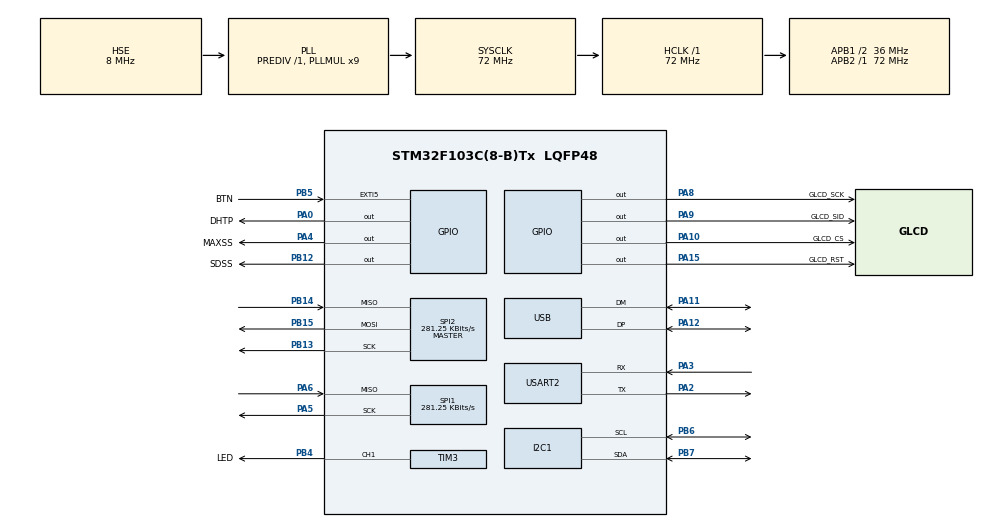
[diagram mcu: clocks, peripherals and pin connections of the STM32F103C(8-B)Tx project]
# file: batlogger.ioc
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Dma.Request0=TIM3_CH1/TRIG
Dma.TIM3_CH1/TRIG.0.Direction=DMA_MEMORY_TO_PERIPH
Dma.TIM3_CH1/TRIG.0.Instance=DMA1_Channel6
Dma.TIM3_CH1/TRIG.0.MemDataAlignment=DMA_MDATAALIGN_WORD
Dma.TIM3_CH1/TRIG.0.MemInc=DMA_MINC_ENABLE
Dma.TIM3_CH1/TRIG.0.Mode=DMA_CIRCULAR
Dma.TIM3_CH1/TRIG.0.PeriphDataAlignment=DMA_PDATAALIGN_WORD
Dma.TIM3_CH1/TRIG.0.PeriphInc=DMA_PINC_DISABLE
Dma.TIM3_CH1/TRIG.0.Priority=DMA_PRIORITY_MEDIUM
FREERTOS.Tasks01=defaultTask,0,128,StartDefaultTask,Default,NULL,Dynamic,NULL,NULL;LedTask,-2,128,StartLedTask,Default,NULL,Dynamic,NULL,NULL;DispTask,-2,128,StartDispTask,Default,NULL,Dynamic,NULL,NULL;TCTask,0,128,StartTCTask,Default,NULL,Dynamic,NULL,NULL;ADCTask,0,128,StartADCTask,Default,NULL,Dynamic,NULL,NULL;DHTTask,-2,128,StartDHTTask,Default,NULL,Dynamic,NULL,NULL;SDCTask,2,256,StartSDCTask,Default,NULL,Dynamic,NULL,NULL;CalcTask,-1,128,StartCalcTask,Default,NULL,Dynamic,NULL,NULL;KBTask,-2,128,StartKBTask,Default,NULL,Dynamic,NULL,NULL
FREERTOS.configTOTAL_HEAP_SIZE=2048+4096
Mcu.Family=STM32F1
Mcu.Name=STM32F103C(8-B)Tx
Mcu.Package=LQFP48
NVIC.DMA1_Channel6_IRQn=true\:5\:0\:false\:false\:true\:true\:false\:true\:true
NVIC.EXTI9_5_IRQn=true\:5\:0\:false\:false\:true\:true\:true\:true\:true
NVIC.PriorityGroup=NVIC_PRIORITYGROUP_4
NVIC.TIM2_IRQn=true\:5\:0\:false\:false\:true\:true\:true\:true\:true
NVIC.TIM4_IRQn=true\:15\:0\:false\:false\:true\:false\:false\:true\:true
NVIC.TimeBase=TIM4_IRQn
NVIC.TimeBaseIP=TIM4
NVIC.USB_LP_CAN1_RX0_IRQn=true\:5\:0\:false\:false\:true\:true\:false\:true\:true
PA0-WKUP.GPIO_Label=DHTP
PA0-WKUP.GPIO_Speed=GPIO_SPEED_FREQ_HIGH
PA0-WKUP.Signal=GPIO_Output
PA10.GPIO_Label=GLCD_CS
PA10.GPIO_Speed=GPIO_SPEED_FREQ_HIGH
PA10.Signal=GPIO_Output
PA11.Mode=Device
PA11.Signal=USB_DM
PA12.Mode=Device
PA12.Signal=USB_DP
PA13.Mode=Serial_Wire
PA13.Signal=SYS_JTMS-SWDIO
PA14.Mode=Serial_Wire
PA14.Signal=SYS_JTCK-SWCLK
PA15.GPIO_Label=GLCD_RST
PA15.GPIO_Speed=GPIO_SPEED_FREQ_HIGH
PA15.Signal=GPIO_Output
PA2.Mode=Asynchronous
PA2.Signal=USART2_TX
PA3.Mode=Asynchronous
PA3.Signal=USART2_RX
PA4.GPIO_Label=MAXSS
PA4.GPIO_Speed=GPIO_SPEED_FREQ_HIGH
PA4.Signal=GPIO_Output
PA5.Mode=RX_Only_Simplex_Unidirect_Master
PA5.Signal=SPI1_SCK
PA6.Mode=RX_Only_Simplex_Unidirect_Master
PA6.Signal=SPI1_MISO
PA8.GPIO_Label=GLCD_SCK
PA8.GPIO_Speed=GPIO_SPEED_FREQ_HIGH
PA8.Signal=GPIO_Output
PA9.GPIO_Label=GLCD_SID
PA9.Signal=GPIO_Output
PB12.GPIO_Label=SDSS
PB12.GPIO_ModeDefaultOutputPP=GPIO_MODE_OUTPUT_OD
PB12.GPIO_PuPd=GPIO_PULLUP
PB12.GPIO_Speed=GPIO_SPEED_FREQ_HIGH
PB12.PinState=GPIO_PIN_RESET
PB12.Signal=GPIO_Output
PB13.Mode=Full_Duplex_Master
PB13.Signal=SPI2_SCK
PB14.GPIO_PuPd=GPIO_PULLUP
PB14.Mode=Full_Duplex_Master
PB14.Signal=SPI2_MISO
PB15.Mode=Full_Duplex_Master
PB15.Signal=SPI2_MOSI
PB4.GPIO_Label=LED
PB4.GPIO_ModeDefaultPP=GPIO_MODE_AF_OD
PB4.GPIO_Speed=GPIO_SPEED_FREQ_HIGH
PB4.Signal=S_TIM3_CH1
PB5.GPIO_Label=BTN
PB5.GPIO_ModeDefaultEXTI=GPIO_MODE_IT_FALLING
PB5.Signal=GPXTI5
PB6.Mode=I2C
PB6.Signal=I2C1_SCL
PB7.Mode=I2C
PB7.Signal=I2C1_SDA
PD0-OSC_IN.Mode=HSE-External-Oscillator
PD0-OSC_IN.Signal=RCC_OSC_IN
PD1-OSC_OUT.Mode=HSE-External-Oscillator
PD1-OSC_OUT.Signal=RCC_OSC_OUT
ProjectManager.HeapSize=0x1600
ProjectManager.StackSize=0x1600
ProjectManager.TargetToolchain=MDK-ARM V5.32
RCC.AHBFreq_Value=72000000
RCC.APB1CLKDivider=RCC_HCLK_DIV2
RCC.APB1Freq_Value=36000000
RCC.APB1TimFreq_Value=72000000
RCC.APB2Freq_Value=72000000
RCC.APB2TimFreq_Value=72000000
RCC.HCLKFreq_Value=72000000
RCC.PLLMUL=RCC_PLL_MUL9
RCC.PLLSourceVirtual=RCC_PLLSOURCE_HSE
RCC.SYSCLKFreq_VALUE=72000000
RCC.SYSCLKSource=RCC_SYSCLKSOURCE_PLLCLK
RCC.USBFreq_Value=48000000
RCC.USBPrescaler=RCC_USBCLKSOURCE_PLL_DIV1_5
SH.S_TIM3_CH1.0=TIM3_CH1,PWM Generation1 CH1
SPI1.BaudRatePrescaler=SPI_BAUDRATEPRESCALER_256
SPI1.CalculateBaudRate=281.25 KBits/s
SPI1.DataSize=SPI_DATASIZE_16BIT
SPI1.Direction=SPI_DIRECTION_2LINES_RXONLY
SPI1.Mode=SPI_MODE_MASTER
SPI1.VirtualType=VM_MASTER
SPI2.BaudRatePrescaler=SPI_BAUDRATEPRESCALER_128
SPI2.CalculateBaudRate=281.25 KBits/s
SPI2.Direction=SPI_DIRECTION_2LINES
SPI2.Mode=SPI_MODE_MASTER
SPI2.VirtualType=VM_MASTER
TIM1.Period=0xFFFF-1
TIM1.Prescaler=72
TIM2.Period=100
TIM2.Prescaler=36000
TIM3.Channel-PWM\ Generation1\ CH1=TIM_CHANNEL_1
USART2.VirtualMode=VM_ASYNC
USB_DEVICE.CLASS_NAME_FS=CDC
USB_DEVICE.VirtualMode=Cdc
USB_DEVICE.VirtualModeFS=Cdc_FS
VP_FREERTOS_VS_CMSIS_V1.Mode=CMSIS_V1
VP_SYS_VS_tim4.Mode=TIM4
VP_TIM1_VS_ClockSourceINT.Mode=Internal
VP_TIM2_VS_ClockSourceINT.Mode=Internal
VP_TIM3_VS_ClockSourceINT.Mode=Internal
VP_USB_DEVICE_VS_USB_DEVICE_CDC_FS.Mode=CDC_FS
board=custom

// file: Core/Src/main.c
/* USER CODE BEGIN Header */
/**
  ******************************************************************************
  * @file           : main.c
  * @brief          : Main program body
  ******************************************************************************
  * @attention
  *
  * Copyright (c) 2022 STMicroelectronics.
  * All rights reserved.
  *
  * This software is licensed under terms that can be found in the LICENSE file
  * in the root directory of this software component.
  * If no LICENSE file comes with this software, it is provided AS-IS.
  *
  ******************************************************************************
  */
/* USER CODE END Header */
#include "main.h"
#include "cmsis_os.h"
#include "usb_device.h"

/* USER CODE BEGIN Includes */
#include "DHT.h"
#include "MAX6675.h"
#include "ST7920_SERIAL.h"
#include <stdlib.h>
#include "stdio.h"
#include "delay.h"
#include "bitmap.h"
#include "ADS1115.h"
#include "ARGB.h"
#include "usbd_cdc_if.h"

/* USER CODE END Includes */

/* USER CODE BEGIN PD */
#define SDErr 0
#define SDMnt 1
#define SDFopn 2
#define SDRec 3
/* USER CODE END PD */

I2C_HandleTypeDef hi2c1;

SPI_HandleTypeDef hspi1;
SPI_HandleTypeDef hspi2;

TIM_HandleTypeDef htim1;
TIM_HandleTypeDef htim2;
TIM_HandleTypeDef htim3;
DMA_HandleTypeDef hdma_tim3_ch1_trig;

UART_HandleTypeDef huart2;

osThreadId defaultTaskHandle;
osThreadId LedTaskHandle;
osThreadId DispTaskHandle;
osThreadId TCTaskHandle;
osThreadId ADCTaskHandle;
osThreadId DHTTaskHandle;
osThreadId SDCTaskHandle;
osThreadId CalcTaskHandle;
osThreadId KBTaskHandle;
/* USER CODE BEGIN PV */
static DHT_sensor AmbS = {DHTP_GPIO_Port, DHTP_Pin, DHT11, GPIO_NOPULL};
//FATFS FatFs; 	//Fatfs handle
//FIL fil; 		//File handle
//FRESULT fres; //Result after operations
float adc[4];
float Volt,Curr,TCtemp;
int ambT,ambRH;
bool LEDSt = 1;
uint8_t SDst = SDErr;
char SDMSG[64];
bool state = true;
bool REC = false;
char msg3[24];
char msg2[24];
char msg1[24];
char msg0[24];
/* USER CODE END PV */

void SystemClock_Config(void);
static void MX_GPIO_Init(void);
static void MX_DMA_Init(void);
static void MX_SPI1_Init(void);
static void MX_TIM1_Init(void);
static void MX_SPI2_Init(void);
static void MX_TIM3_Init(void);
static void MX_TIM2_Init(void);
static void MX_I2C1_Init(void);
static void MX_USART2_UART_Init(void);
void StartDefaultTask(void const * argument);
void StartLedTask(void const * argument);
void StartDispTask(void const * argument);
void StartTCTask(void const * argument);
void StartADCTask(void const * argument);
void StartDHTTask(void const * argument);
void StartSDCTask(void const * argument);
void StartCalcTask(void const * argument);
void StartKBTask(void const * argument);

int main(void)
{

  /* MCU Configuration--------------------------------------------------------*/

  /* Reset of all peripherals, Initializes the Flash interface and the Systick. */
  HAL_Init();

  /* Configure the system clock */
  SystemClock_Config();

  /* Initialize all configured peripherals */
  MX_GPIO_Init();
  MX_DMA_Init();
  MX_SPI1_Init();
  MX_TIM1_Init();
  MX_SPI2_Init();
  MX_TIM3_Init();
  MX_TIM2_Init();
  MX_I2C1_Init();
  MX_USART2_UART_Init();
  /* USER CODE BEGIN 2 */
	delay_init();
	ARGB_Init();
	I2C1_Init(I2C_STANDARD);
  ST7920_Init();
	ARGB_SetRGB(0,0,255,0);

  ST7920_SendString(0,0, "battery");
  ST7920_SendString(1,0, "logger");
  ST7920_SendString(2,0, "by droplbox");
  ST7920_SendString(3,0, "");
  HAL_Delay(2000);

  /* USER CODE END 2 */

  /* Create the thread(s) */
  /* definition and creation of defaultTask */
  osThreadDef(defaultTask, StartDefaultTask, osPriorityNormal, 0, 128);
  defaultTaskHandle = osThreadCreate(osThread(defaultTask), NULL);

  /* definition and creation of LedTask */
  osThreadDef(LedTask, StartLedTask, osPriorityLow, 0, 128);
  LedTaskHandle = osThreadCreate(osThread(LedTask), NULL);

  /* definition and creation of DispTask */
  osThreadDef(DispTask, StartDispTask, osPriorityLow, 0, 256);
  DispTaskHandle = osThreadCreate(osThread(DispTask), NULL);

  /* definition and creation of TCTask */
  osThreadDef(TCTask, StartTCTask, osPriorityNormal, 0, 128);
  TCTaskHandle = osThreadCreate(osThread(TCTask), NULL);

  /* definition and creation of ADCTask */
  osThreadDef(ADCTask, StartADCTask, osPriorityNormal, 0, 128);
  ADCTaskHandle = osThreadCreate(osThread(ADCTask), NULL);

  /* definition and creation of DHTTask */
  osThreadDef(DHTTask, StartDHTTask, osPriorityLow, 0, 128);
  DHTTaskHandle = osThreadCreate(osThread(DHTTask), NULL);

  /* definition and creation of SDCTask */
  osThreadDef(SDCTask, StartSDCTask, osPriorityHigh, 0, 256);
  SDCTaskHandle = osThreadCreate(osThread(SDCTask), NULL);

  /* definition and creation of CalcTask */
  osThreadDef(CalcTask, StartCalcTask, osPriorityBelowNormal, 0, 128);
  CalcTaskHandle = osThreadCreate(osThread(CalcTask), NULL);

  /* definition and creation of KBTask */
  osThreadDef(KBTask, StartKBTask, osPriorityLow, 0, 128);
  KBTaskHandle = osThreadCreate(osThread(KBTask), NULL);

  /* Start scheduler */
  osKernelStart();

  /* We should never get here as control is now taken by the scheduler */
  /* Infinite loop */
  while (1)
  {

    /* USER CODE BEGIN 3 */

		HAL_Delay(100);

  }
  /* USER CODE END 3 */
}

void SystemClock_Config(void)
{
  RCC_OscInitTypeDef RCC_OscInitStruct = {0};
  RCC_ClkInitTypeDef RCC_ClkInitStruct = {0};
  RCC_PeriphCLKInitTypeDef PeriphClkInit = {0};

  /** Initializes the RCC Oscillators according to the specified parameters
  * in the RCC_OscInitTypeDef structure.
  */
  RCC_OscInitStruct.OscillatorType = RCC_OSCILLATORTYPE_HSE;
  RCC_OscInitStruct.HSEState = RCC_HSE_ON;
  RCC_OscInitStruct.HSEPredivValue = RCC_HSE_PREDIV_DIV1;
  RCC_OscInitStruct.HSIState = RCC_HSI_ON;
  RCC_OscInitStruct.PLL.PLLState = RCC_PLL_ON;
  RCC_OscInitStruct.PLL.PLLSource = RCC_PLLSOURCE_HSE;
  RCC_OscInitStruct.PLL.PLLMUL = RCC_PLL_MUL9;
  if (HAL_RCC_OscConfig(&RCC_OscInitStruct) != HAL_OK)
  {
    Error_Handler();
  }

  /** Initializes the CPU, AHB and APB buses clocks
  */
  RCC_ClkInitStruct.ClockType = RCC_CLOCKTYPE_HCLK|RCC_CLOCKTYPE_SYSCLK
                              |RCC_CLOCKTYPE_PCLK1|RCC_CLOCKTYPE_PCLK2;
  RCC_ClkInitStruct.SYSCLKSource = RCC_SYSCLKSOURCE_PLLCLK;
  RCC_ClkInitStruct.AHBCLKDivider = RCC_SYSCLK_DIV1;
  RCC_ClkInitStruct.APB1CLKDivider = RCC_HCLK_DIV2;
  RCC_ClkInitStruct.APB2CLKDivider = RCC_HCLK_DIV1;

  if (HAL_RCC_ClockConfig(&RCC_ClkInitStruct, FLASH_LATENCY_2) != HAL_OK)
  {
    Error_Handler();
  }
  PeriphClkInit.PeriphClockSelection = RCC_PERIPHCLK_USB;
  PeriphClkInit.UsbClockSelection = RCC_USBCLKSOURCE_PLL_DIV1_5;
  if (HAL_RCCEx_PeriphCLKConfig(&PeriphClkInit) != HAL_OK)
  {
    Error_Handler();
  }
}

static void MX_I2C1_Init(void)
{

  hi2c1.Instance = I2C1;
  hi2c1.Init.ClockSpeed = 100000;
  hi2c1.Init.DutyCycle = I2C_DUTYCYCLE_2;
  hi2c1.Init.OwnAddress1 = 0;
  hi2c1.Init.AddressingMode = I2C_ADDRESSINGMODE_7BIT;
  hi2c1.Init.DualAddressMode = I2C_DUALADDRESS_DISABLE;
  hi2c1.Init.OwnAddress2 = 0;
  hi2c1.Init.GeneralCallMode = I2C_GENERALCALL_DISABLE;
  hi2c1.Init.NoStretchMode = I2C_NOSTRETCH_DISABLE;
  if (HAL_I2C_Init(&hi2c1) != HAL_OK)
  {
    Error_Handler();
  }

}

static void MX_SPI1_Init(void)
{

  /* SPI1 parameter configuration*/
  hspi1.Instance = SPI1;
  hspi1.Init.Mode = SPI_MODE_MASTER;
  hspi1.Init.Direction = SPI_DIRECTION_2LINES_RXONLY;
  hspi1.Init.DataSize = SPI_DATASIZE_16BIT;
  hspi1.Init.CLKPolarity = SPI_POLARITY_LOW;
  hspi1.Init.CLKPhase = SPI_PHASE_1EDGE;
  hspi1.Init.NSS = SPI_NSS_SOFT;
  hspi1.Init.BaudRatePrescaler = SPI_BAUDRATEPRESCALER_256;
  hspi1.Init.FirstBit = SPI_FIRSTBIT_MSB;
  hspi1.Init.TIMode = SPI_TIMODE_DISABLE;
  hspi1.Init.CRCCalculation = SPI_CRCCALCULATION_DISABLE;
  hspi1.Init.CRCPolynomial = 10;
  if (HAL_SPI_Init(&hspi1) != HAL_OK)
  {
    Error_Handler();
  }

}

static void MX_SPI2_Init(void)
{

  /* SPI2 parameter configuration*/
  hspi2.Instance = SPI2;
  hspi2.Init.Mode = SPI_MODE_MASTER;
  hspi2.Init.Direction = SPI_DIRECTION_2LINES;
  hspi2.Init.DataSize = SPI_DATASIZE_8BIT;
  hspi2.Init.CLKPolarity = SPI_POLARITY_LOW;
  hspi2.Init.CLKPhase = SPI_PHASE_1EDGE;
  hspi2.Init.NSS = SPI_NSS_SOFT;
  hspi2.Init.BaudRatePrescaler = SPI_BAUDRATEPRESCALER_128;
  hspi2.Init.FirstBit = SPI_FIRSTBIT_MSB;
  hspi2.Init.TIMode = SPI_TIMODE_DISABLE;
  hspi2.Init.CRCCalculation = SPI_CRCCALCULATION_DISABLE;
  hspi2.Init.CRCPolynomial = 10;
  if (HAL_SPI_Init(&hspi2) != HAL_OK)
  {
    Error_Handler();
  }

}

static void MX_TIM1_Init(void)
{

  TIM_ClockConfigTypeDef sClockSourceConfig = {0};
  TIM_MasterConfigTypeDef sMasterConfig = {0};

  htim1.Instance = TIM1;
  htim1.Init.Prescaler = 72;
  htim1.Init.CounterMode = TIM_COUNTERMODE_UP;
  htim1.Init.Period = 0xFFFF-1;
  htim1.Init.ClockDivision = TIM_CLOCKDIVISION_DIV1;
  htim1.Init.RepetitionCounter = 0;
  htim1.Init.AutoReloadPreload = TIM_AUTORELOAD_PRELOAD_DISABLE;
  if (HAL_TIM_Base_Init(&htim1) != HAL_OK)
  {
    Error_Handler();
  }
  sClockSourceConfig.ClockSource = TIM_CLOCKSOURCE_INTERNAL;
  if (HAL_TIM_ConfigClockSource(&htim1, &sClockSourceConfig) != HAL_OK)
  {
    Error_Handler();
  }
  sMasterConfig.MasterOutputTrigger = TIM_TRGO_RESET;
  sMasterConfig.MasterSlaveMode = TIM_MASTERSLAVEMODE_DISABLE;
  if (HAL_TIMEx_MasterConfigSynchronization(&htim1, &sMasterConfig) != HAL_OK)
  {
    Error_Handler();
  }

}

static void MX_TIM2_Init(void)
{

  TIM_ClockConfigTypeDef sClockSourceConfig = {0};
  TIM_MasterConfigTypeDef sMasterConfig = {0};

  htim2.Instance = TIM2;
  htim2.Init.Prescaler = 36000;
  htim2.Init.CounterMode = TIM_COUNTERMODE_UP;
  htim2.Init.Period = 100;
  htim2.Init.ClockDivision = TIM_CLOCKDIVISION_DIV1;
  htim2.Init.AutoReloadPreload = TIM_AUTORELOAD_PRELOAD_DISABLE;
  if (HAL_TIM_Base_Init(&htim2) != HAL_OK)
  {
    Error_Handler();
  }
  sClockSourceConfig.ClockSource = TIM_CLOCKSOURCE_INTERNAL;
  if (HAL_TIM_ConfigClockSource(&htim2, &sClockSourceConfig) != HAL_OK)
  {
    Error_Handler();
  }
  sMasterConfig.MasterOutputTrigger = TIM_TRGO_RESET;
  sMasterConfig.MasterSlaveMode = TIM_MASTERSLAVEMODE_DISABLE;
  if (HAL_TIMEx_MasterConfigSynchronization(&htim2, &sMasterConfig) != HAL_OK)
  {
    Error_Handler();
  }

}

static void MX_TIM3_Init(void)
{

  TIM_ClockConfigTypeDef sClockSourceConfig = {0};
  TIM_MasterConfigTypeDef sMasterConfig = {0};
  TIM_OC_InitTypeDef sConfigOC = {0};

  htim3.Instance = TIM3;
  htim3.Init.Prescaler = 0;
  htim3.Init.CounterMode = TIM_COUNTERMODE_UP;
  htim3.Init.Period = 65535;
  htim3.Init.ClockDivision = TIM_CLOCKDIVISION_DIV1;
  htim3.Init.AutoReloadPreload = TIM_AUTORELOAD_PRELOAD_DISABLE;
  if (HAL_TIM_Base_Init(&htim3) != HAL_OK)
  {
    Error_Handler();
  }
  sClockSourceConfig.ClockSource = TIM_CLOCKSOURCE_INTERNAL;
  if (HAL_TIM_ConfigClockSource(&htim3, &sClockSourceConfig) != HAL_OK)
  {
    Error_Handler();
  }
  if (HAL_TIM_PWM_Init(&htim3) != HAL_OK)
  {
    Error_Handler();
  }
  sMasterConfig.MasterOutputTrigger = TIM_TRGO_RESET;
  sMasterConfig.MasterSlaveMode = TIM_MASTERSLAVEMODE_DISABLE;
  if (HAL_TIMEx_MasterConfigSynchronization(&htim3, &sMasterConfig) != HAL_OK)
  {
    Error_Handler();
  }
  sConfigOC.OCMode = TIM_OCMODE_PWM1;
  sConfigOC.Pulse = 0;
  sConfigOC.OCPolarity = TIM_OCPOLARITY_HIGH;
  sConfigOC.OCFastMode = TIM_OCFAST_DISABLE;
  if (HAL_TIM_PWM_ConfigChannel(&htim3, &sConfigOC, TIM_CHANNEL_1) != HAL_OK)
  {
    Error_Handler();
  }
  HAL_TIM_MspPostInit(&htim3);

}

static void MX_USART2_UART_Init(void)
{

  huart2.Instance = USART2;
  huart2.Init.BaudRate = 115200;
  huart2.Init.WordLength = UART_WORDLENGTH_8B;
  huart2.Init.StopBits = UART_STOPBITS_1;
  huart2.Init.Parity = UART_PARITY_NONE;
  huart2.Init.Mode = UART_MODE_TX_RX;
  huart2.Init.HwFlowCtl = UART_HWCONTROL_NONE;
  huart2.Init.OverSampling = UART_OVERSAMPLING_16;
  if (HAL_UART_Init(&huart2) != HAL_OK)
  {
    Error_Handler();
  }

}

static void MX_DMA_Init(void)
{

  /* DMA controller clock enable */
  __HAL_RCC_DMA1_CLK_ENABLE();

  /* DMA interrupt init */
  /* DMA1_Channel6_IRQn interrupt configuration */
  HAL_NVIC_SetPriority(DMA1_Channel6_IRQn, 5, 0);
  HAL_NVIC_EnableIRQ(DMA1_Channel6_IRQn);

}

static void MX_GPIO_Init(void)
{
  GPIO_InitTypeDef GPIO_InitStruct = {0};

  /* GPIO Ports Clock Enable */
  __HAL_RCC_GPIOD_CLK_ENABLE();
  __HAL_RCC_GPIOA_CLK_ENABLE();
  __HAL_RCC_GPIOB_CLK_ENABLE();

  /*Configure GPIO pin Output Level */
  HAL_GPIO_WritePin(GPIOA, DHTP_Pin|MAXSS_Pin|GLCD_SCK_Pin|GLCD_SID_Pin
                          |GLCD_CS_Pin|GLCD_RST_Pin, GPIO_PIN_RESET);

  /*Configure GPIO pin Output Level */
  HAL_GPIO_WritePin(SDSS_GPIO_Port, SDSS_Pin, GPIO_PIN_RESET);

  /*Configure GPIO pins : DHTP_Pin MAXSS_Pin GLCD_SCK_Pin GLCD_CS_Pin
                           GLCD_RST_Pin */
  GPIO_InitStruct.Pin = DHTP_Pin|MAXSS_Pin|GLCD_SCK_Pin|GLCD_CS_Pin
                          |GLCD_RST_Pin;
  GPIO_InitStruct.Mode = GPIO_MODE_OUTPUT_PP;
  GPIO_InitStruct.Pull = GPIO_NOPULL;
  GPIO_InitStruct.Speed = GPIO_SPEED_FREQ_HIGH;
  HAL_GPIO_Init(GPIOA, &GPIO_InitStruct);

  /*Configure GPIO pin : SDSS_Pin */
  GPIO_InitStruct.Pin = SDSS_Pin;
  GPIO_InitStruct.Mode = GPIO_MODE_OUTPUT_OD;
  GPIO_InitStruct.Pull = GPIO_PULLUP;
  GPIO_InitStruct.Speed = GPIO_SPEED_FREQ_HIGH;
  HAL_GPIO_Init(SDSS_GPIO_Port, &GPIO_InitStruct);

  /*Configure GPIO pin : GLCD_SID_Pin */
  GPIO_InitStruct.Pin = GLCD_SID_Pin;
  GPIO_InitStruct.Mode = GPIO_MODE_OUTPUT_PP;
  GPIO_InitStruct.Pull = GPIO_NOPULL;
  GPIO_InitStruct.Speed = GPIO_SPEED_FREQ_LOW;
  HAL_GPIO_Init(GLCD_SID_GPIO_Port, &GPIO_InitStruct);

  /*Configure GPIO pin : BTN_Pin */
  GPIO_InitStruct.Pin = BTN_Pin;
  GPIO_InitStruct.Mode = GPIO_MODE_IT_FALLING;
  GPIO_InitStruct.Pull = GPIO_NOPULL;
  HAL_GPIO_Init(BTN_GPIO_Port, &GPIO_InitStruct);

  /* EXTI interrupt init*/
  HAL_NVIC_SetPriority(EXTI9_5_IRQn, 5, 0);
  HAL_NVIC_EnableIRQ(EXTI9_5_IRQn);

}

/* USER CODE BEGIN 4 */
void HAL_GPIO_EXTI_Callback(uint16_t GPIO_Pin)
{
	if(GPIO_Pin == BTN_Pin && state == true){
		HAL_TIM_Base_Start_IT(&htim2);
		state = false;

	}
	else{
		__NOP();
	}
}

/* USER CODE END 4 */

void StartDefaultTask(void const * argument)
{
  /* init code for USB_DEVICE */
  MX_USB_DEVICE_Init();
  /* USER CODE BEGIN 5 */
  /* Infinite loop */
  for(;;)
  {
    osDelay(100);
  }
  /* USER CODE END 5 */
}

void StartLedTask(void const * argument)
{
  /* USER CODE BEGIN StartLedTask */
  /* Infinite loop */
  for(;;)
  {
//		if (SDst == SDErr){
//			ARGB_SetRGB(0,255,0,0);
//		} else if ((SDst == SDMnt )| !REC) {
//			if (LEDSt == 1) {
//			ARGB_SetRGB(0,0,255,0);
//			LEDSt = 0;
//
//			}else{
//				ARGB_SetRGB(0,0,0,0);
//			LEDSt = 1;
//
//			}
//		} else if ((SDst == SDMnt )| REC) {
//			LEDSt = 1;
//			ARGB_SetRGB(0,0,255,0);
//		}

		if (!REC){
			ARGB_SetRGB(0,255,0,0);}
		else {ARGB_SetRGB(0,0,255,0);}
		while (!ARGB_Show())
		;
    osDelay(300);
  }
  /* USER CODE END StartLedTask */
}

void StartDispTask(void const * argument)
{
  /* USER CODE BEGIN StartDispTask */
  /* Infinite loop */
  for(;;)
  {

		sprintf(msg3, "TC: %06.02f degC", TCtemp);
		sprintf(msg2, "Tamb %dC RH %d%%", (uint8_t)ambT, (uint8_t)ambRH);
		sprintf(msg1, "V %06.3f V    ", Volt);
		sprintf(msg0, "I %06.3f A    ", Curr);

		ST7920_SendString(3,0, msg3);
		ST7920_SendString(2,0, msg2);
		ST7920_SendString(1,0, msg1);
		ST7920_SendString(0,0, msg0);
    osDelay(500);
  }
  /* USER CODE END StartDispTask */
}

void StartTCTask(void const * argument)
{
  /* USER CODE BEGIN StartTCTask */
  /* Infinite loop */
  for(;;)
  {
		TCtemp=Max6675_Read_Temp();
    osDelay(500);
  }
  /* USER CODE END StartTCTask */
}

void StartADCTask(void const * argument)
{
  /* USER CODE BEGIN StartADCTask */
  /* Infinite loop */
  for(;;)
  {
		adc[0] = ADS1115_Read(0);

		adc[1] =  ADS1115_Read(1);
		adc[2] =  ADS1115_Read(2);
		osDelay(500);
  }
  /* USER CODE END StartADCTask */
}

void StartDHTTask(void const * argument)
{
  /* USER CODE BEGIN StartDHTTask */
  /* Infinite loop */
  for(;;)
  {
		DHT_data dhtd = DHT_getData(&AmbS);
		ambT = (uint8_t)dhtd.temp;
		ambRH = (uint8_t)dhtd.hum;
    osDelay(5000);
  }
  /* USER CODE END StartDHTTask */
}

void StartSDCTask(void const * argument)
{
  /* USER CODE BEGIN StartSDCTask */

  /* Infinite loop */
  for(;;)
  {

		//fres = f_mount(&FatFs, "", 1);
		//if (fres == FR_OK) {SDst = SDMnt;} else{ SDst = SDErr;}
		///fres = f_mkdir("DEMO");
		//if (fres == FR_OK) {SDst = SDFopn;} else{ SDst = SDErr;}
//		fres = f_open(&fil, "/test.txt", FA_WRITE );
//////
//	  if (fres == FR_OK) {SDst = SDFopn;} else{ SDst = SDErr;}
////		//f_puts(SDMSG,&fil);
//		f_close(&fil);
//		f_mount(NULL, "", 0);
		sprintf(SDMSG, "%07.3f, %06.2f, %02.0d, %02.0d, %06.02f", Volt, Curr, (uint8_t)ambT, (uint8_t)ambRH, TCtemp);
		sprintf(&SDMSG[63],"\n");
		if (REC) {
			CDC_Transmit_FS((unsigned char*)&SDMSG[0], sizeof(SDMSG));
			HAL_UART_Transmit(&huart2,(unsigned char*) &SDMSG[0], sizeof(SDMSG), 100);
		}
    osDelay(1000);
  }
  /* USER CODE END StartSDCTask */
}

void StartCalcTask(void const * argument)
{
  /* USER CODE BEGIN StartCalcTask */
  /* Infinite loop */
  for(;;)
  {
		Volt = adc[1] * (1100+200) / 200 ;
		Curr = (adc[0]-adc[2]/2)*10;
    osDelay(500);
  }
  /* USER CODE END StartCalcTask */
}

void StartKBTask(void const * argument)
{
  /* USER CODE BEGIN StartKBTask */
  /* Infinite loop */
  for(;;)
  {

    osDelay(1000);
  }
  /* USER CODE END StartKBTask */
}

void HAL_TIM_PeriodElapsedCallback(TIM_HandleTypeDef *htim)
{
  if (htim->Instance == TIM4) {
    HAL_IncTick();
  }
  /* USER CODE BEGIN Callback 1 */
	if (htim->Instance == TIM2){
		if(HAL_GPIO_ReadPin(BTN_GPIO_Port, BTN_Pin) == GPIO_PIN_RESET){
		state = true;
		REC = !(REC);
		HAL_TIM_Base_Stop_IT(&htim2);
	}
	}
  /* USER CODE END Callback 1 */
}

void Error_Handler(void)
{
  __disable_irq();
  while (1)
  {
  }
}
